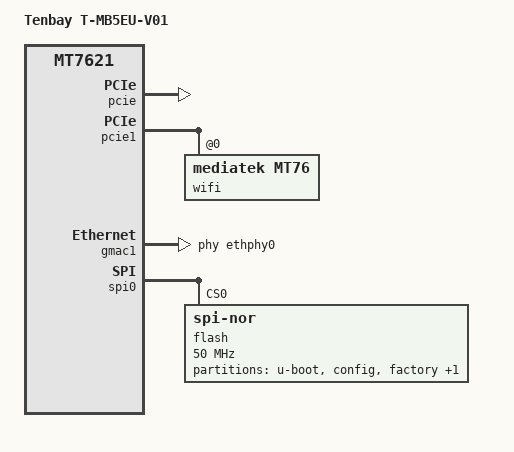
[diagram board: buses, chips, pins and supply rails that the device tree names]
// SPDX-License-Identifier: GPL-2.0-or-later OR MIT

#include "mt7621.dtsi"

#include <dt-bindings/gpio/gpio.h>
#include <dt-bindings/input/input.h>

/ {
	compatible = "tenbay,t-mb5eu-v01", "mediatek,mt7621-soc";
	model = "Tenbay T-MB5EU-V01";

	aliases {
		
		label-mac-device = &gmac1;
	};

	chosen {
		bootargs = "console=ttyS0,115200";
		bootargs-override = "console=ttyS0,115200";
	};


};

&pcie {
	status = "okay";
};

&pcie1 {
	wifi@0,0 {
		compatible = "mediatek,mt76";
		reg = <0x0000 0 0 0 0>;
		nvmem-cells = <&eeprom_factory_0>;
		nvmem-cell-names = "eeprom";
		mediatek,disable-radar-background;
	};
};

&gmac0 {
	nvmem-cells = <&macaddr_factory_4 0>;
	nvmem-cell-names = "mac-address";
};

&gmac1 {
	status = "okay";
	label = "wan";
	phy-handle = <&ethphy0>;

	nvmem-cells = <&macaddr_factory_4 (-2)>;
	nvmem-cell-names = "mac-address";
};

&ethphy0 {
	/delete-property/ interrupts;
};

&switch0 {
	ports {
		port@1 {
			status = "okay";
			label = "lan1";
		};

		port@2 {
			status = "okay";
			label = "lan2";
		};

		port@3 {
			status = "okay";
			label = "lan3";
		};

		port@4 {
			status = "okay";
			label = "lan4";
		};
	};
};

&state_default {
	gpio {
		groups = "uart3";
		function = "gpio";
	};
};

&spi0 {
	status = "okay";

	flash@0 {
		compatible = "jedec,spi-nor";
		reg = <0>;
		spi-max-frequency = <50000000>;

		partitions {
			compatible = "fixed-partitions";
			#address-cells = <1>;
			#size-cells = <1>;

			partition@0 {
				label = "u-boot";
				reg = <0x0 0x30000>;
				read-only;
			};

			partition@30000 {
				label = "config";
				reg = <0x30000 0x10000>;
				read-only;
			};

	
			partition@50000 {
				label = "factory";
				reg = <0x50000 0x40000>;
				read-only;

				nvmem-layout {
					compatible = "fixed-layout";
					#address-cells = <1>;
					#size-cells = <1>;

					eeprom_factory_0: eeprom@0 {
						reg = <0x0 0x10000>;
					};

					macaddr_factory_4: macaddr@4 {
						compatible = "mac-base";
						reg = <0x4 0x6>;
						#nvmem-cell-cells = <1>;
					};
				};
			};

			partition@90000 {
				compatible = "denx,uimage";
				label = "firmware";
				reg = <0x90000 0x1b70000>;
			};
		};
	};
};
